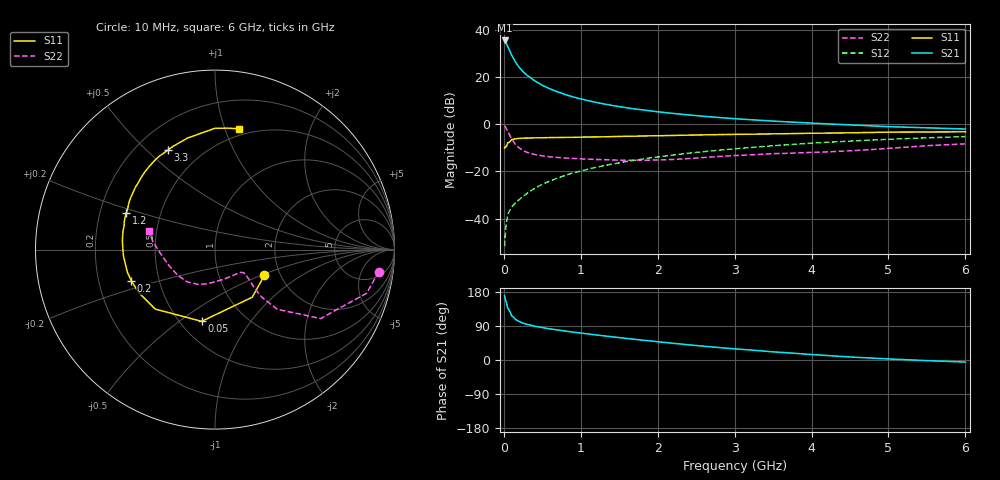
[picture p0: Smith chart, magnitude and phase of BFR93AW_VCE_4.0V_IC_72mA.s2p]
! Infineon Technologies  Discrete & RF Semiconductors
! BFR93AW
! VCE =  4.0 V,  IC =  72 mA
! Common Emitter S-Parameters:  Jan 2017
# GHz  S  MA  R  50
!  f  S11  S21  S12  S22
! GHz  MAG  ANG  MAG  ANG  MAG  ANG  MAG  ANG
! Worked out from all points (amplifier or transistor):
!   77 points, 10 MHz to 6 GHz, reference 50 ohm
!   highest |S21| = 35.4 dB at 10 MHz (marker M1)
!   |S21| within 3 dB of that: start of sweep to 57.6 MHz
!   unconditionally stable (mu >= 1): 289.2 MHz to 2.281 GHz
!   at 130 MHz: K = 0.72, MSG = 30.8 dB, |S12| = -34.1 dB
!   at 2.2 GHz: K = 1.01, MAG = 8.3 dB, |S12| = -13.1 dB
!   at 6 GHz: K = 0.92, MSG = 1.6 dB, |S12| = -5.3 dB
!   S11 on the Smith chart (normalised r, x): 10 MHz: 1.65, -0.53; 50 MHz: 0.64, -0.61; 200 MHz: 0.35, -0.16; 1.2 GHz: 0.31, +0.18; 3.3 GHz: 0.33, +0.58; 6 GHz: 0.44, +1.12
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0.01  0.3103 -27.7  58.96 169.5  0.0026 74.9  0.9201 -7.7
0.02  0.3367 -51.9  56.9 159.9  0.0048 75.4  0.8796 -16.0
0.05  0.4065 -100.5  44.34 136.9  0.012 67.2  0.7033 -33.1
0.1  0.4697 -135.1  28.88 117.0  0.0173 59.2  0.4814 -43.8
0.15  0.4883 -150.7  20.61 107.3  0.0214 60.8  0.3697 -45.5
0.2  0.4976 -159.6  15.88 101.4  0.0252 65.0  0.3113 -44.4
0.25  0.5042 -165.5  12.89 97.1  0.0295 65.7  0.2761 -42.8
0.3  0.5057 -170.0  10.83 94.1  0.0338 68.9  0.2526 -41.4
0.4  0.5115 -176.3  8.241 89.2  0.0435 71.1  0.2272 -39.6
0.5  0.5138 178.9  6.63 85.5  0.0527 72.4  0.2124 -39.0
0.6  0.5176 175.1  5.569 82.2  0.0629 72.9  0.2031 -39.2
0.7  0.52 171.8  4.795 79.3  0.0718 73.7  0.1965 -40.1
0.9  0.5232 165.6  3.76 73.7  0.0924 73.2  0.1875 -43.6
1.1  0.5329 160.1  3.121 68.7  0.1117 72.6  0.1812 -48.2
1.2  0.5349 157.5  2.876 66.1  0.1213 71.7  0.178 -50.9
1.6  0.5518 148.4  2.214 56.8  0.162 69.2  0.1722 -64.3
2.1  0.5699 137.7  1.752 46.2  0.2112 64.7  0.1756 -85.0
3.1  0.6078 119.1  1.27 28.0  0.3089 54.6  0.2187 -119.5
3.3  0.6134 115.4  1.212 24.9  0.328 52.5  0.2267 -125.1
4.1  0.6417 102.4  1.03 13.2  0.4024 43.5  0.2545 -148.6
5.1  0.6761 88.9  0.873 1.9  0.4835 32.0  0.3138 -178.8
6  0.686 78.7  0.786 -5.5  0.5437 21.8  0.3817 164.2
